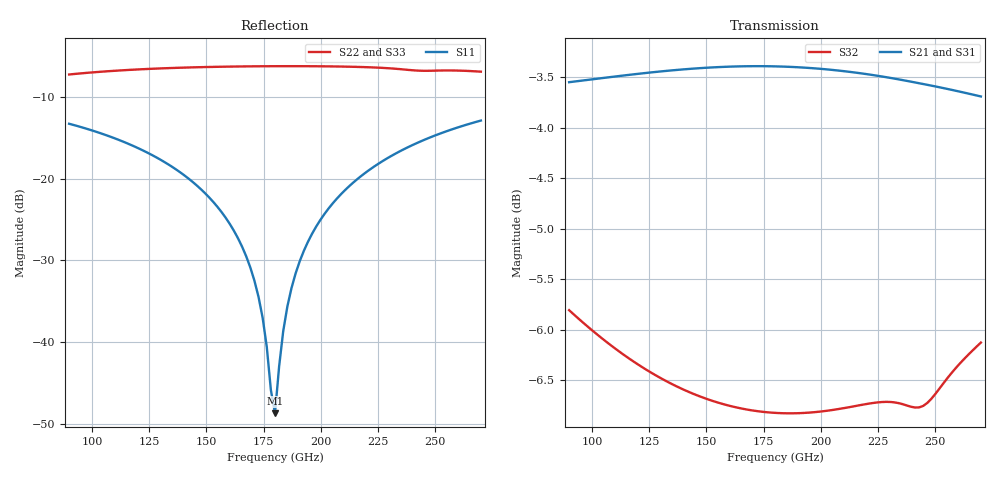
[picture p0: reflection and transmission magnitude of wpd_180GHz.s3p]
#  GHZ S DB R 50
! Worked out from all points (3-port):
!   101 points, 90 GHz to 270 GHz, reference 50 ohm
!   strongest paths, dB at 90 GHz, 135 GHz, 180 GHz, 225 GHz, 270 GHz:
!     S21: -3.5, -3.4, -3.4, -3.5, -3.7
!     S31: -3.6, -3.4, -3.4, -3.5, -3.7
!     S32: -5.8, -6.5, -6.8, -6.7, -6.1
!   lowest |S11| = -48.7 dB at 180 GHz (marker M1), VSWR 1.01, Z = 50.3 - j0.135 ohm
!   |S11| at or under -10 dB: start of sweep to end of sweep
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90  -13.28 133.4  -3.55 -44.0  -3.56 -44.0
    -3.55 -44.0  -7.25 51.2  -5.81 -97.1
    -3.56 -44.0  -5.81 -97.1  -7.24 51.2
131.4  -17.92 111.7  -3.44 -65.0  -3.45 -65.0
       -3.44 -65.0  -6.49 22.5  -6.50 -135.2
       -3.45 -65.0  -6.50 -135.2  -6.48 22.5
158.4  -24.77 95.9  -3.40 -79.0  -3.40 -79.0
       -3.40 -79.0  -6.29 7.1  -6.74 -159.2
       -3.40 -79.0  -6.74 -159.2  -6.29 7.1
172.8  -34.48 81.3  -3.39 -86.5  -3.40 -86.5
       -3.39 -86.5  -6.24 -0.5  -6.81 -171.9
       -3.40 -86.5  -6.81 -171.9  -6.24 -0.6
180  -48.73 -21.5  -3.39 -90.3  -3.40 -90.3
     -3.39 -90.3  -6.23 -4.3  -6.82 -178.3
     -3.40 -90.3  -6.82 -178.3  -6.23 -4.3
183.6  -38.65 -76.6  -3.40 -92.2  -3.40 -92.2
       -3.40 -92.2  -6.23 -6.2  -6.83 178.5
       -3.40 -92.2  -6.83 178.5  -6.23 -6.2
187.2  -33.40 -86.4  -3.40 -94.1  -3.41 -94.1
       -3.40 -94.1  -6.23 -8.0  -6.83 175.3
       -3.41 -94.1  -6.83 175.3  -6.23 -8.1
201.6  -24.33 -99.9  -3.42 -101.6  -3.43 -101.6
       -3.42 -101.6  -6.25 -15.6  -6.80 162.5
       -3.43 -101.6  -6.80 162.5  -6.25 -15.6
228.6  -17.58 -115.7  -3.50 -115.7  -3.50 -115.7
       -3.50 -115.7  -6.46 -30.5  -6.71 137.9
       -3.50 -115.7  -6.71 137.9  -6.46 -30.6
270  -12.89 -137.2  -3.69 -136.9  -3.70 -136.9
     -3.69 -136.9  -6.90 -54.8  -6.13 101.4
     -3.70 -136.9  -6.13 101.4  -6.90 -54.9
